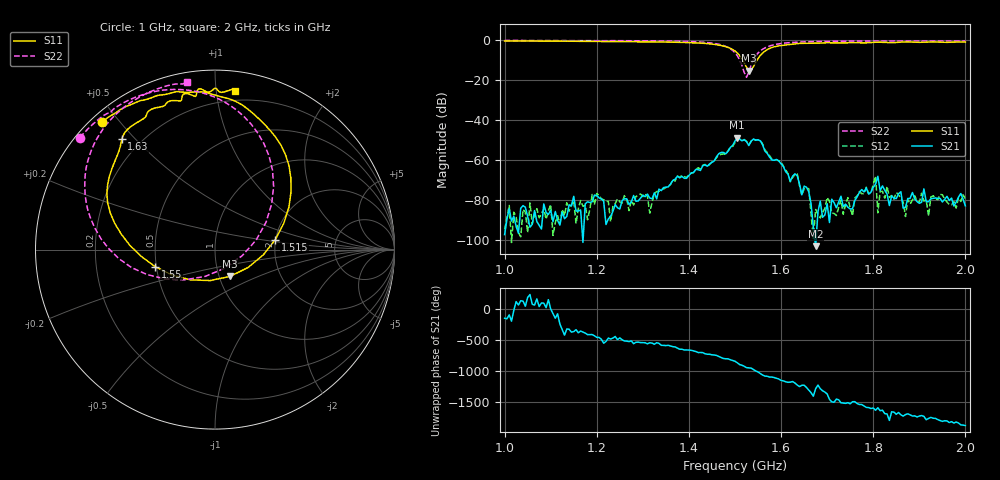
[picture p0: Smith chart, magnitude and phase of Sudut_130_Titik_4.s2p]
# Hz S RI R 50
! CMT, C1220, 16058040, 17.2.0/1
! Date: 14/08/2018 12:30:31
! Data: Format (Calibration Info)
! Freq  S11: Re/Im (F2)  S21: Re/Im (F2)  S12: Re/Im (F2)  S22: Re/Im (F2)
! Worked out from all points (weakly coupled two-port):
!   201 points, 1 GHz to 2 GHz, reference 50 ohm
!   highest |S21| = -48.83 dB at 1.505 GHz (marker M1); lowest = -103.0 dB at 1.675 GHz (marker M2)
!   lowest |S11| = -15.3 dB at 1.53 GHz (marker M3), VSWR 1.41, Z = 56.2 - j17.3 ohm
!   |S11| at or under -10 dB: 1.517 GHz to 1.548 GHz (31.22 MHz wide, 2.04 % of centre)
!   |S22| runs from -18.6 to -0.2 dB; largest |S21 - S12| = 0.00039
!   S11 on the Smith chart (normalised r, x): 1 GHz: 0.03, +0.45; 1.515 GHz: 1.99, +0.25; 1.55 GHz: 0.49, -0.11; 1.63 GHz: 0.13, +0.46; 2 GHz: 0.13, +1.13
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1e9  -0.628 0.7093  -1.25e-05 -6.02e-06  -1.69e-05 -7.85e-06  -0.7531 0.6241
1.17e9  -0.4517 0.8151  8.45e-06 -2.54e-06  7.02e-05 -2.96e-06  -0.617 0.7494
1.335e9  -0.1871 0.8776  -0.000179 6.16e-05  -0.00015 7.14e-05  -0.4015 0.8635
1.45e9  0.1981 0.7703  0.000802 -0.00036  0.000779 -0.000454  0.0205 0.8393
1.5e9  0.4237 0.3234  -0.0018 -0.00239  -0.00159 -0.00225  0.3266 0.3518
1.505e9  0.4121 0.2382  -0.00319 -0.0017  -0.00299 -0.00174  0.3156 0.2546
1.515e9  0.3363 0.0558  -0.00298 0.000612  -0.00299 0.000532  0.229 0.0528
1.53e9  0.0827 -0.1496  -0.00139 0.00185  -0.0014 0.00193  -0.0543 -0.1491
1.55e9  -0.334 -0.0947  0.00163 0.00278  0.00156 0.00282  -0.4643 -0.1006
1.62e9  -0.5277 0.5738  -7.43e-05 -0.000287  -4.31e-05 -0.000285  -0.7072 0.4987
1.63e9  -0.519 0.6161  -0.000215 -0.0004  -0.000214 -0.000391  -0.6923 0.5438
1.645e9  -0.4859 0.671  -0.000123 -6e-05  -0.000126 -4.17e-05  -0.668 0.6004
1.67e9  -0.3992 0.7288  1.86e-05 1.03e-05  1.46e-06 1.08e-05  -0.6244 0.6712
1.675e9  -0.39 0.736  -6.14e-06 3.57e-06  -4.49e-05 3.81e-05  -0.6163 0.6829
1.795e9  -0.1846 0.8487  -0.000155 -2.89e-05  -0.00015 -7.66e-06  -0.4327 0.8425
1.805e9  -0.1772 0.8651  -0.000238 7.45e-05  -0.000397 -5.41e-06  -0.4189 0.8509
1.81e9  -0.1692 0.869  -0.000364 -0.000153  -2.6e-05 4.04e-05  -0.4122 0.8548
1.83e9  -0.1226 0.8579  -3.18e-05 0.000138  -0.000179 0.000131  -0.385 0.8682
1.835e9  -0.1135 0.8542  7.35e-05 -1.6e-06  -8.5e-05 8.03e-05  -0.3784 0.8717
1.91e9  -0.0165 0.8868  8.6e-05 0.000171  5.96e-05 7.33e-05  -0.2742 0.911
1.915e9  -0.00966 0.8926  8.99e-05 1.58e-05  9.98e-05 1.95e-05  -0.2674 0.9127
2e9  0.1118 0.8848  9.28e-06 -7.16e-05  7.3e-07 -0.000109  -0.1548 0.9315
